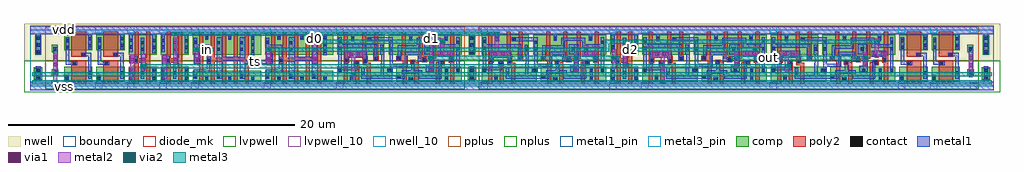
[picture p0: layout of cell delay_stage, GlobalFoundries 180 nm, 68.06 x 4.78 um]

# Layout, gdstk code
from math import pi, radians
import gdstk
lib = gdstk.Library(unit=1e-6, precision=1e-09)
def R(c, l, rs):  # rectangles x0, y0, x1, y1
    for r in rs: c.add(gdstk.rectangle(r[:2], r[2:], *l))
def A(c, l, x, y, w, h, nx, ny, dx, dy):  # array of equal rectangles
    R(c, l, [(x+i*dx, y+j*dy, x+i*dx+w, y+j*dy+h) for i in range(nx) for j in range(ny)])
boundary = (0, 0)
nwell = (21, 0)
nwell_10 = (21, 10)
comp = (22, 0)
poly2 = (30, 0)
pplus = (31, 0)
nplus = (32, 0)
contact = (33, 0)
metal1 = (34, 0)
metal1_pin = (34, 10)
via1 = (35, 0)
metal2 = (36, 0)
via2 = (38, 0)
metal3 = (42, 0)
metal3_pin = (42, 10)
diode_mk = (115, 5)
lvpwell = (204, 0)
lvpwell_10 = (204, 10)

gf180mcu_as_sc_mcu7t3v3_ = lib.new_cell('gf180mcu_as_sc_mcu7t3v3__fillcap_4')
R(gf180mcu_as_sc_mcu7t3v3_, boundary, [(0,0,2.24,3.92)])
R(gf180mcu_as_sc_mcu7t3v3_, nwell, [(-0.43,1.77,2.67,4.35)])
R(gf180mcu_as_sc_mcu7t3v3_, nwell_10, [(0.05,3.67,0.55,4.17)])
R(gf180mcu_as_sc_mcu7t3v3_, comp, [(0.14,0.34,2.1,1.34), (0.14,2.5,2.1,3.58)])
R(gf180mcu_as_sc_mcu7t3v3_, poly2, [(0.63,0.12,1.66,1.8), (0.63,2.04,1.66,3.8)])
R(gf180mcu_as_sc_mcu7t3v3_, pplus, [(-0.08,1.77,2.32,4.15), (0.4,2.27,1.89,2.34), (-0.02,2.34,2.26,3.74), (0.4,3.74,1.89,3.81)])
R(gf180mcu_as_sc_mcu7t3v3_, nplus, [(-0.08,-0.23,2.32,1.77), (-0.08,-0.23,2.32,1.77)])
R(gf180mcu_as_sc_mcu7t3v3_, contact, [(0.21,0.455,0.43,0.675), (1.81,0.815,2.03,1.035), (0.715,1.51,0.935,1.73), (1.37,2.11,1.59,2.33), (0.245,2.605,0.465,2.825), (1.81,2.72,2.03,2.94), (0.245,3.075,0.465,3.295), (1.81,3.19,2.03,3.41)])
R(gf180mcu_as_sc_mcu7t3v3_, metal1, [(0,-0.3,2.24,0.3), (0.205,0.3,0.435,0.74), (1.805,0.53,2.035,2.09), (0.65,1.44,1.04,1.5), (0.24,1.5,1.04,1.735), (0.24,1.735,0.47,3.39), (1.305,2.09,2.035,2.335), (1.805,2.565,2.035,3.62), (0,3.62,2.24,4.22)])
R(gf180mcu_as_sc_mcu7t3v3_, metal1_pin, [(0,-0.3,2.24,0.3), (0,3.62,2.24,4.22)])
R(gf180mcu_as_sc_mcu7t3v3_, lvpwell, [(-0.43,-0.43,2.67,1.77)])
R(gf180mcu_as_sc_mcu7t3v3_, lvpwell_10, [(0.05,-0.25,0.55,0.25)])
gf180mcu_as_sc_mcu7t3v3_.add(gdstk.Label('VDD', (1.12,3.92), layer=34, texttype=10))
gf180mcu_as_sc_mcu7t3v3_.add(gdstk.Label('VNW', (0.3,3.92), layer=21, texttype=10))
gf180mcu_as_sc_mcu7t3v3_.add(gdstk.Label('VPW', (0.3,0), layer=204, texttype=10))
gf180mcu_as_sc_mcu7t3v3_.add(gdstk.Label('VSS', (1.12,0), layer=34, texttype=10))

c_gf180mcu_as_sc_mcu7t3v3_ = lib.new_cell('gf180mcu_as_sc_mcu7t3v3__diode_2')
R(c_gf180mcu_as_sc_mcu7t3v3_, boundary, [(0,0,1.12,3.92)])
R(c_gf180mcu_as_sc_mcu7t3v3_, nwell, [(-0.43,1.77,1.55,4.35)])
R(c_gf180mcu_as_sc_mcu7t3v3_, nwell_10, [(0.05,3.67,0.55,4.17)])
R(c_gf180mcu_as_sc_mcu7t3v3_, comp, [(0.28,0.685,0.72,1.16), (0.3,2.36,0.725,2.9)])
R(c_gf180mcu_as_sc_mcu7t3v3_, pplus, [(-0.08,1.77,1.2,4.15), (0.14,2.2,0.885,3.06)])
R(c_gf180mcu_as_sc_mcu7t3v3_, nplus, [(-0.08,-0.23,1.2,1.77), (-0.08,-0.23,1.2,1.77)])
R(c_gf180mcu_as_sc_mcu7t3v3_, contact, [(0.405,0.87,0.625,1.09), (0.405,2.455,0.625,2.675)])
R(c_gf180mcu_as_sc_mcu7t3v3_, metal1, [(0,-0.3,1.12,0.3), (0.33,0.805,0.63,2.75), (0,3.62,1.12,4.22)])
R(c_gf180mcu_as_sc_mcu7t3v3_, metal1_pin, [(0,-0.3,1.12,0.3), (0.33,0.805,0.63,2.75), (0,3.62,1.12,4.22)])
R(c_gf180mcu_as_sc_mcu7t3v3_, diode_mk, [(0.28,0.685,0.72,1.16), (0.3,2.36,0.725,2.9)])
R(c_gf180mcu_as_sc_mcu7t3v3_, lvpwell, [(-0.43,-0.43,1.55,1.77)])
R(c_gf180mcu_as_sc_mcu7t3v3_, lvpwell_10, [(0.05,-0.25,0.55,0.25)])
c_gf180mcu_as_sc_mcu7t3v3_.add(gdstk.Label('VDD', (0.56,3.92), layer=34, texttype=10))
c_gf180mcu_as_sc_mcu7t3v3_.add(gdstk.Label('VNW', (0.3,3.92), layer=21, texttype=10))
c_gf180mcu_as_sc_mcu7t3v3_.add(gdstk.Label('VPW', (0.3,0), layer=204, texttype=10))
c_gf180mcu_as_sc_mcu7t3v3_.add(gdstk.Label('VSS', (0.56,0), layer=34, texttype=10))
c_gf180mcu_as_sc_mcu7t3v3_.add(gdstk.Label('DIODE', (0.48,1.777), layer=34, texttype=10))

c_gf180mcu_as_sc_mcu7t3v3__ = lib.new_cell('gf180mcu_as_sc_mcu7t3v3__tap_2')
R(c_gf180mcu_as_sc_mcu7t3v3__, boundary, [(0,0,1.12,3.92)])
R(c_gf180mcu_as_sc_mcu7t3v3__, nwell, [(-0.43,1.77,1.55,4.35)])
R(c_gf180mcu_as_sc_mcu7t3v3__, comp, [(0.28,0.46,0.84,1.29), (0.36,2.22,0.76,3.52)])
R(c_gf180mcu_as_sc_mcu7t3v3__, pplus, [(0.335,0.43,0.755,0.44), (0.26,0.44,0.86,1.31), (0.335,1.31,0.755,1.32)])
R(c_gf180mcu_as_sc_mcu7t3v3__, nplus, [(0.335,2.19,0.755,2.2), (0.335,2.2,0.78,3.54), (0.335,3.54,0.755,3.55)])
A(c_gf180mcu_as_sc_mcu7t3v3__, contact, 0.435, 2.29, 0.22, 0.22, 1, 3, 0, 0.47)
R(c_gf180mcu_as_sc_mcu7t3v3__, contact, [(0.435,0.53,0.655,0.75), (0.435,1,0.655,1.22)])
R(c_gf180mcu_as_sc_mcu7t3v3__, metal1, [(0,-0.3,1.12,0.3), (0.375,0.3,0.715,1.38), (0.375,2.235,0.715,3.62), (0,3.62,1.12,4.22)])
R(c_gf180mcu_as_sc_mcu7t3v3__, metal1_pin, [(0,-0.3,1.12,0.3), (0,3.62,1.12,4.22)])
R(c_gf180mcu_as_sc_mcu7t3v3__, lvpwell, [(-0.43,-0.43,1.55,1.77)])
c_gf180mcu_as_sc_mcu7t3v3__.add(gdstk.Label('VDD', (0.56,3.92), layer=34, texttype=10))
c_gf180mcu_as_sc_mcu7t3v3__.add(gdstk.Label('VSS', (0.56,0), layer=34, texttype=10))

c_gf180mcu_as_sc_mcu7t3v3___ = lib.new_cell('gf180mcu_as_sc_mcu7t3v3__inv_2')
R(c_gf180mcu_as_sc_mcu7t3v3___, boundary, [(0,0,2.24,3.92)])
R(c_gf180mcu_as_sc_mcu7t3v3___, nwell, [(-0.43,1.77,2.67,4.35)])
R(c_gf180mcu_as_sc_mcu7t3v3___, nwell_10, [(0.05,3.67,0.55,4.17)])
R(c_gf180mcu_as_sc_mcu7t3v3___, comp, [(0.14,0.34,2.1,1.34), (0.14,2.2,2.1,3.58)])
R(c_gf180mcu_as_sc_mcu7t3v3___, poly2, [(0.58,0.12,0.86,1.625), (1.38,0.12,1.66,1.625), (0.48,1.625,1.66,1.935), (0.48,1.935,0.86,1.99), (1.38,1.935,1.66,3.8), (0.58,1.99,0.86,3.8)])
R(c_gf180mcu_as_sc_mcu7t3v3___, pplus, [(-0.08,1.77,2.32,4.15), (0.35,1.97,1.89,2.04), (-0.02,2.04,2.26,3.74), (0.35,3.74,1.89,3.81)])
R(c_gf180mcu_as_sc_mcu7t3v3___, nplus, [(-0.08,-0.23,2.32,1.77), (-0.08,-0.23,2.32,1.77)])
R(c_gf180mcu_as_sc_mcu7t3v3___, contact, [(0.21,0.415,0.43,0.635), (1.81,0.445,2.03,0.665), (1.01,0.82,1.23,1.04), (0.21,0.885,0.43,1.105), (1.81,0.915,2.03,1.135), (0.55,1.695,0.77,1.915), (1.01,2.45,1.23,2.67), (1.81,2.585,2.03,2.805), (0.21,2.615,0.43,2.835), (1.01,2.92,1.23,3.14), (1.81,3.055,2.03,3.275), (0.21,3.085,0.43,3.305)])
R(c_gf180mcu_as_sc_mcu7t3v3___, metal1, [(0,-0.3,2.24,0.3), (0.205,0.3,0.435,1.235), (1.805,0.3,2.035,1.235), (1.005,0.53,1.235,1.26), (1.005,1.26,1.35,2.255), (0.205,1.59,0.775,2.125), (1.005,2.255,1.235,3.385), (1.805,2.295,2.035,3.62), (0.205,2.355,0.435,3.62), (0,3.62,2.24,4.22)])
R(c_gf180mcu_as_sc_mcu7t3v3___, metal1_pin, [(0,-0.3,2.24,0.3), (1.005,1.26,1.35,2.255), (0.205,1.59,0.775,2.125), (0,3.62,2.24,4.22)])
R(c_gf180mcu_as_sc_mcu7t3v3___, lvpwell, [(-0.43,-0.43,2.67,1.77)])
R(c_gf180mcu_as_sc_mcu7t3v3___, lvpwell_10, [(0.05,-0.25,0.55,0.25)])
c_gf180mcu_as_sc_mcu7t3v3___.add(gdstk.Label('VDD', (1.12,3.92), layer=34, texttype=10))
c_gf180mcu_as_sc_mcu7t3v3___.add(gdstk.Label('VNW', (0.3,3.92), layer=21, texttype=10))
c_gf180mcu_as_sc_mcu7t3v3___.add(gdstk.Label('VPW', (0.3,0), layer=204, texttype=10))
c_gf180mcu_as_sc_mcu7t3v3___.add(gdstk.Label('VSS', (1.12,0), layer=34, texttype=10))
c_gf180mcu_as_sc_mcu7t3v3___.add(gdstk.Label('Y', (1.177,1.757), layer=34, texttype=10))
c_gf180mcu_as_sc_mcu7t3v3___.add(gdstk.Label('A', (0.49,1.857), layer=34, texttype=10))

c_gf180mcu_as_sc_mcu7t3v3____ = lib.new_cell('gf180mcu_as_sc_mcu7t3v3__clkbuff_4')
R(c_gf180mcu_as_sc_mcu7t3v3____, boundary, [(0,0,5.04,3.92)])
R(c_gf180mcu_as_sc_mcu7t3v3____, nwell, [(-0.43,1.77,5.47,4.35)])
R(c_gf180mcu_as_sc_mcu7t3v3____, nwell_10, [(0.05,3.67,0.55,4.17)])
R(c_gf180mcu_as_sc_mcu7t3v3____, comp, [(0.14,0.34,4.9,1.06), (0.14,2.2,4.9,3.58)])
A(c_gf180mcu_as_sc_mcu7t3v3____, poly2, 2.18, 2.005, 0.28, 1.795, 3, 1, 0.8, 0)
R(c_gf180mcu_as_sc_mcu7t3v3____, poly2, [(0.58,0.12,0.86,1.57), (1.38,0.12,1.66,1.575), (2.18,0.12,2.46,1.69), (2.98,0.12,3.26,1.735), (3.78,0.12,4.06,1.735), (0.37,1.57,0.86,2.025), (1.1,1.575,1.66,1.69), (1.1,1.69,2.46,1.735), (1.1,1.735,4.06,1.97), (1.1,1.97,1.66,2.03), (2.18,1.97,4.06,2.005), (0.58,2.025,0.86,3.8), (1.38,2.03,1.66,3.8)])
R(c_gf180mcu_as_sc_mcu7t3v3____, pplus, [(-0.08,1.77,5.12,4.15), (0.35,1.97,4.29,2.04), (-0.02,2.04,5.06,3.74), (0.35,3.74,4.29,3.81)])
R(c_gf180mcu_as_sc_mcu7t3v3____, nplus, [(-0.08,-0.23,5.12,1.77), (-0.08,-0.23,5.12,1.77)])
A(c_gf180mcu_as_sc_mcu7t3v3____, contact, 1.01, 0.41, 0.22, 0.22, 3, 1, 1.6, 0)
A(c_gf180mcu_as_sc_mcu7t3v3____, contact, 0.21, 0.59, 0.22, 0.22, 3, 1, 1.6, 0)
A(c_gf180mcu_as_sc_mcu7t3v3____, contact, 4.21, 2.31, 0.22, 0.22, 1, 3, 0, 0.47)
R(c_gf180mcu_as_sc_mcu7t3v3____, contact, [(0.45,1.685,0.67,1.905), (1.17,1.7,1.39,1.92), (1.81,2.455,2.03,2.675), (3.41,2.455,3.63,2.675), (1.81,2.925,2.03,3.145), (3.41,2.925,3.63,3.145), (0.21,2.96,0.43,3.18), (1.01,3.29,1.23,3.51), (2.61,3.29,2.83,3.51)])
R(c_gf180mcu_as_sc_mcu7t3v3____, metal1, [(0,-0.3,5.04,0.3), (1.005,0.3,1.235,0.69), (2.605,0.3,2.835,0.69), (4.205,0.3,4.435,0.73), (0.205,0.53,0.435,0.945), (1.805,0.53,2.2,1.755), (3.405,0.53,3.8,1.755), (0.205,0.945,1.33,1.175), (1.1,1.175,1.33,1.575), (0.205,1.57,0.675,2.285), (1.1,1.575,1.395,2.03), (1.805,1.755,3.8,2.04), (1.1,2.03,1.33,2.665), (1.805,2.04,2.2,3.39), (3.405,2.04,3.8,3.39), (4.205,2.14,4.435,3.62), (0.205,2.665,1.33,2.895), (0.205,2.895,0.435,3.38), (1.005,3.23,1.235,3.62), (2.605,3.23,2.835,3.62), (0,3.62,5.04,4.22)])
R(c_gf180mcu_as_sc_mcu7t3v3____, metal1_pin, [(0,-0.3,5.04,0.3), (1.805,0.53,2.2,3.39), (3.405,0.53,3.8,3.39), (0.205,1.57,0.675,2.285), (0,3.62,5.04,4.22)])
R(c_gf180mcu_as_sc_mcu7t3v3____, lvpwell, [(-0.43,-0.43,5.47,1.77)])
R(c_gf180mcu_as_sc_mcu7t3v3____, lvpwell_10, [(0.05,-0.25,0.55,0.25)])
c_gf180mcu_as_sc_mcu7t3v3____.add(gdstk.Label('VDD', (2.52,3.92), layer=34, texttype=10))
c_gf180mcu_as_sc_mcu7t3v3____.add(gdstk.Label('VNW', (0.3,3.92), layer=21, texttype=10))
c_gf180mcu_as_sc_mcu7t3v3____.add(gdstk.Label('VPW', (0.3,0), layer=204, texttype=10))
c_gf180mcu_as_sc_mcu7t3v3____.add(gdstk.Label('VSS', (2.52,0), layer=34, texttype=10))
c_gf180mcu_as_sc_mcu7t3v3____.add(gdstk.Label('A', (0.44,1.927), layer=34, texttype=10))
c_gf180mcu_as_sc_mcu7t3v3____.add(gdstk.Label('Y', (2.002,1.96), layer=34, texttype=10))
c_gf180mcu_as_sc_mcu7t3v3____.add(gdstk.Label('Y', (3.602,1.96), layer=34, texttype=10))

c_gf180mcu_as_sc_mcu7t3v3_____ = lib.new_cell('gf180mcu_as_sc_mcu7t3v3__invz_2')
R(c_gf180mcu_as_sc_mcu7t3v3_____, boundary, [(0,0,8.96,3.92)])
R(c_gf180mcu_as_sc_mcu7t3v3_____, nwell, [(-0.43,1.77,9.39,4.35)])
R(c_gf180mcu_as_sc_mcu7t3v3_____, nwell_10, [(0.05,3.67,0.55,4.17)])
R(c_gf180mcu_as_sc_mcu7t3v3_____, comp, [(0.14,0.34,3.98,1.34), (4.26,0.34,8.82,1.34), (0.14,2.2,3.42,3.58), (3.725,2.2,8.82,3.58)])
R(c_gf180mcu_as_sc_mcu7t3v3_____, poly2, [(0.58,0.12,0.86,1.62), (1.38,0.12,1.66,1.45), (2.18,0.12,2.46,1.44), (4.7,0.12,4.98,1.74), (5.52,0.12,5.8,1.495), (7.02,0.12,7.3,1.47), (8.02,0.12,8.3,1.64), (1.9,1.44,2.46,1.62), (1.28,1.45,1.66,1.655), (7.02,1.47,7.645,1.675), (5.22,1.495,5.8,1.675), (0.58,1.62,0.965,1.98), (1.9,1.62,2.26,1.92), (7.895,1.64,8.3,2), (6.04,1.65,6.405,1.92), (1.28,1.655,1.64,1.81), (5.22,1.675,5.585,1.855), (7.28,1.675,7.645,1.83), (2.67,1.74,3.03,2.1), (4.24,1.74,4.98,2.1), (1.86,1.92,2.26,2.1), (5.82,1.92,7.05,2.1), (0.58,1.98,0.86,3.8), (8.02,2,8.3,3.8), (1.86,2.1,2.14,3.8), (2.7,2.1,2.98,3.8), (4.62,2.1,4.9,3.8), (5.82,2.1,6.1,3.8), (6.77,2.1,7.05,3.8)])
R(c_gf180mcu_as_sc_mcu7t3v3_____, pplus, [(-0.08,1.77,9.04,4.15), (0.35,1.97,1.09,2.04), (1.63,1.97,3.21,2.04), (4.39,1.97,5.13,2.04), (5.59,1.97,7.28,2.04), (7.79,1.97,8.53,2.04), (-0.02,2.04,8.98,3.74), (0.35,3.74,1.09,3.81), (1.63,3.74,3.21,3.81), (4.39,3.74,5.13,3.81), (5.59,3.74,7.28,3.81), (7.79,3.74,8.53,3.81)])
R(c_gf180mcu_as_sc_mcu7t3v3_____, nplus, [(-0.08,-0.23,9.04,1.77), (-0.08,-0.23,9.04,1.77)])
R(c_gf180mcu_as_sc_mcu7t3v3_____, contact, [(5.15,0.41,5.37,0.63), (1.01,0.47,1.23,0.69), (7.65,0.485,7.87,0.705), (4.33,0.535,4.55,0.755), (1.81,0.795,2.03,1.015), (7.65,0.955,7.87,1.175), (3.69,1,3.91,1.22), (6.5,1,6.72,1.22), (0.21,1.005,0.43,1.225), (8.45,1.005,8.67,1.225), (1.35,1.52,1.57,1.74), (7.35,1.54,7.57,1.76), (5.29,1.565,5.51,1.785), (1.97,1.66,2.19,1.88), (0.675,1.69,0.895,1.91), (7.965,1.71,8.185,1.93), (6.11,1.72,6.33,1.94), (2.74,1.81,2.96,2.03), (4.31,1.81,4.53,2.03), (3.13,2.475,3.35,2.695), (3.795,2.475,4.015,2.695), (6.39,2.475,6.61,2.695), (8.45,2.49,8.67,2.71), (0.21,2.54,0.43,2.76), (3.795,2.945,4.015,3.165), (8.45,2.96,8.67,3.18), (0.21,3.01,0.43,3.23), (2.29,3.15,2.51,3.37), (1.11,3.205,1.33,3.425), (5.15,3.22,5.37,3.44), (7.6,3.22,7.82,3.44)])
R(c_gf180mcu_as_sc_mcu7t3v3_____, metal1, [(0,-0.3,8.96,0.3), (1.005,0.3,1.235,0.75), (5.09,0.3,5.43,0.635), (7.645,0.3,7.875,1.25), (1.805,0.53,4.855,0.76), (5.83,0.53,7.415,0.76), (1.805,0.76,2.035,1.29), (3.155,0.76,3.385,1.36), (4.615,0.76,4.855,0.865), (5.83,0.76,6.06,0.865), (7.185,0.76,7.415,1.48), (4.615,0.865,6.06,1.105), (0.205,0.945,0.435,1.1), (8.445,0.945,8.675,2.685), (3.62,0.99,4.02,1.235), (6.305,0.99,6.905,1.43), (0.205,1.1,1.575,1.335), (5.285,1.105,5.515,1.845), (3.79,1.235,4.02,1.335), (0.205,1.335,0.435,2.685), (1.29,1.335,1.575,1.515), (3.79,1.335,5.055,1.565), (3.155,1.36,3.425,1.59), (6.565,1.43,6.905,2.23), (7.185,1.48,7.575,1.82), (1.29,1.515,1.63,1.745), (3.79,1.565,4.02,3.145), (4.825,1.565,5.055,2.15), (0.67,1.57,0.9,1.975), (3.195,1.59,3.425,2.265), (1.965,1.6,2.195,1.975), (7.96,1.65,8.19,2.05), (6.105,1.66,6.335,1.71), (5.745,1.71,6.335,2), (2.65,1.75,2.965,2.09), (4.25,1.805,4.59,2.035), (0.67,1.975,2.195,2.45), (5.745,2,5.975,2.15), (4.36,2.035,4.59,2.61), (7.135,2.05,8.19,2.45), (2.65,2.09,2.88,2.685), (4.825,2.15,5.975,2.38), (6.205,2.23,6.905,2.91), (3.125,2.265,3.425,2.51), (3.125,2.51,3.355,2.9), (4.36,2.61,5.915,2.84), (0.205,2.685,2.88,2.915), (7.135,2.685,8.675,2.915), (5.685,2.84,5.915,3.15), (0.205,2.915,0.435,3.39), (7.135,2.915,7.365,3.15), (8.445,2.915,8.675,3.39), (1.105,3.145,1.335,3.62), (2.23,3.145,4.02,3.39), (5.685,3.15,7.365,3.38), (5.145,3.16,5.375,3.62), (7.595,3.16,7.825,3.62), (0,3.62,8.96,4.22)])
R(c_gf180mcu_as_sc_mcu7t3v3_____, metal1_pin, [(0,-0.3,8.96,0.3), (6.565,0.99,6.905,2.91), (0.67,1.975,2.195,2.45), (7.135,2.05,8.19,2.45), (0,3.62,8.96,4.22)])
R(c_gf180mcu_as_sc_mcu7t3v3_____, lvpwell, [(-0.43,-0.43,9.39,1.77)])
R(c_gf180mcu_as_sc_mcu7t3v3_____, lvpwell_10, [(0.05,-0.25,0.55,0.25)])
c_gf180mcu_as_sc_mcu7t3v3_____.add(gdstk.Label('VDD', (4.48,3.92), layer=34, texttype=10))
c_gf180mcu_as_sc_mcu7t3v3_____.add(gdstk.Label('VNW', (0.3,3.92), layer=21, texttype=10))
c_gf180mcu_as_sc_mcu7t3v3_____.add(gdstk.Label('VPW', (0.3,0), layer=204, texttype=10))
c_gf180mcu_as_sc_mcu7t3v3_____.add(gdstk.Label('VSS', (4.48,0), layer=34, texttype=10))
c_gf180mcu_as_sc_mcu7t3v3_____.add(gdstk.Label('EN', (1.432,2.212), layer=34, texttype=10))
c_gf180mcu_as_sc_mcu7t3v3_____.add(gdstk.Label('A', (7.662,2.25), layer=34, texttype=10))
c_gf180mcu_as_sc_mcu7t3v3_____.add(gdstk.Label('Y', (6.735,1.95), layer=34, texttype=10))

delay_stage = lib.new_cell('delay_stage')
R(delay_stage, nwell, [(2.3,1.72,3.61,4.3)])
R(delay_stage, pplus, [(-0.39,2.22,-0.06,2.29), (53.74,2.22,54.12,2.29), (-4.66,2.29,-4.54,3.01), (58.22,2.29,58.435,3.01)])
R(delay_stage, metal1, [(-5.64,-0.35,-3.025,0.25), (21.09,1,21.35,1.845), (31.175,1,31.435,1.845), (58.705,1.25,58.97,2.08), (-5.13,1.305,-4.87,2.15), (34.605,1.31,34.87,2.14), (42.365,1.345,42.63,2.175), (51.325,1.395,51.59,2.225), (8.195,1.52,9.755,1.555), (0.23,1.54,0.51,2.075), (1,1.54,1.28,2.075), (2.47,1.54,2.75,2.075), (3.24,1.54,3.52,2.075), (8.195,1.555,9.995,1.805), (33.83,1.565,34.095,2.055), (4.71,1.57,4.99,2.105), (12.96,1.57,13.24,2.105), (9.715,1.805,9.995,2.09), (45.66,2.015,46.645,2.275), (15.395,2.03,16.38,2.29), (36.7,2.035,37.685,2.295), (25.44,2.045,26.425,2.305), (51.955,2.065,52.92,2.325), (31.785,2.07,32.76,2.33), (42.985,2.075,43.955,2.335), (21.69,2.08,22.675,2.34), (-5.64,3.57,-3.025,4.17)])
R(delay_stage, metal1_pin, [(-5.64,-0.35,-3.025,0.25), (-5.64,3.57,-3.025,4.17)])
R(delay_stage, via1, [(21.09,1.03,21.35,1.29), (31.175,1.03,31.435,1.29), (58.705,1.275,58.965,1.535), (-5.13,1.335,-4.87,1.595), (34.605,1.335,34.865,1.595), (42.365,1.37,42.625,1.63), (51.325,1.42,51.585,1.68), (21.09,1.55,21.35,1.81), (31.175,1.55,31.435,1.81), (0.24,1.675,0.5,1.935), (1.01,1.675,1.27,1.935), (2.48,1.675,2.74,1.935), (3.25,1.675,3.51,1.935), (33.83,1.68,34.09,1.94), (9.725,1.69,9.985,1.95), (4.72,1.705,4.98,1.965), (12.97,1.705,13.23,1.965), (58.705,1.795,58.965,2.055), (-5.13,1.855,-4.87,2.115), (34.605,1.855,34.865,2.115), (42.365,1.89,42.625,2.15), (51.325,1.94,51.585,2.2), (45.76,2.015,46.02,2.275), (46.28,2.015,46.54,2.275), (15.495,2.03,15.755,2.29), (16.015,2.03,16.275,2.29), (36.8,2.035,37.06,2.295), (37.32,2.035,37.58,2.295), (25.54,2.045,25.8,2.305), (26.06,2.045,26.32,2.305), (52.045,2.065,52.305,2.325), (52.565,2.065,52.825,2.325), (31.88,2.07,32.14,2.33), (32.4,2.07,32.66,2.33), (43.08,2.075,43.34,2.335), (43.6,2.075,43.86,2.335), (21.795,2.08,22.055,2.34), (22.315,2.08,22.575,2.34)])
R(delay_stage, metal2, [(-5.245,0.09,-4.765,0.37), (0.165,0.09,0.57,0.37), (37.155,0.09,37.55,0.37), (-5.145,0.37,-4.855,2.225), (0.23,0.37,0.51,1.475), (37.215,0.37,37.495,2.025), (2.47,0.425,2.75,1.475), (15.645,0.425,15.925,2.01), (58.69,0.585,58.985,2.175), (45.875,0.915,46.155,2.005), (31.16,0.935,31.445,2.105), (21.08,0.94,21.36,3.425), (1,0.995,1.28,1.475), (33.82,1.165,34.105,2.535), (34.595,1.25,34.88,2.785), (42.35,1.285,42.645,2.255), (51.31,1.33,51.605,2.31), (9.7,1.4,10.01,2.675), (0.22,1.475,0.52,2.125), (0.99,1.475,1.29,2.125), (2.46,1.475,2.76,2.14), (3.23,1.475,3.53,2.125), (4.7,1.505,5,2.155), (12.95,1.505,13.25,2.155), (52.125,1.92,52.405,2.055), (43.62,2.005,43.9,2.06), (45.595,2.005,46.705,2.29), (15.335,2.01,16.445,2.31), (36.625,2.025,37.76,2.31), (25.375,2.03,26.515,2.32), (31.725,2.055,32.82,2.345), (51.895,2.055,52.98,2.34), (21.64,2.06,22.735,2.36), (42.925,2.06,44.03,2.35), (0.23,2.125,0.51,2.17), (1,2.125,1.28,2.18), (3.24,2.125,3.52,3.45), (4.71,2.155,4.99,2.67), (12.96,2.155,13.24,3.43), (42.355,2.255,42.635,2.285), (45.875,2.29,46.155,2.33), (15.645,2.31,15.925,2.39), (37.215,2.31,37.495,2.38), (25.625,2.32,25.905,3.45), (52.125,2.34,52.405,3.24), (31.855,2.345,32.14,2.8), (43.62,2.35,43.9,2.68), (21.845,2.36,22.125,3.24), (3.16,3.45,3.61,3.73), (25.55,3.45,25.995,3.73)])
R(delay_stage, via2, [(-5.13,0.1,-4.87,0.36), (0.24,0.1,0.5,0.36), (37.225,0.1,37.485,0.36), (2.48,0.66,2.74,0.92), (15.655,0.66,15.915,0.92), (58.705,0.66,58.965,0.92), (1.01,1.22,1.27,1.48), (45.885,1.22,46.145,1.48), (21.09,1.78,21.35,2.04), (31.17,1.78,31.43,2.04), (33.83,1.78,34.09,2.04), (42.365,1.78,42.625,2.04), (51.325,1.78,51.585,2.04), (4.72,2.34,4.98,2.6), (9.725,2.34,9.985,2.6), (31.865,2.34,32.125,2.6), (34.605,2.34,34.865,2.6), (43.63,2.34,43.89,2.6), (12.97,2.9,13.23,3.16), (21.855,2.9,22.115,3.16), (52.135,2.9,52.395,3.16), (3.25,3.46,3.51,3.72), (25.635,3.46,25.895,3.72)])
R(delay_stage, metal3, [(-6.63,0.09,60.295,0.37), (-6.63,0.65,60.295,0.93), (0.905,1.21,46.29,1.49), (21,1.77,34.33,2.05), (42.205,1.77,51.67,2.05), (4.61,2.33,6.035,2.61), (9.64,2.33,33.635,2.61), (34.475,2.33,44.165,2.61), (33.355,2.61,33.635,2.89), (12.84,2.89,22.185,3.17), (33.355,2.89,52.49,3.17), (3.115,3.45,25.995,3.73)])
R(delay_stage, metal3_pin, [(-6.63,0.09,-6.355,0.37), (-6.63,0.65,-6.355,0.93), (44.595,1.77,44.885,2.05), (5.45,2.33,5.725,2.61)])
R(delay_stage, lvpwell, [(2.3,1.3,3.61,1.72)])
delay_stage.add(gdstk.Reference(gf180mcu_as_sc_mcu7t3v3_, (-2.28,-0.05)))
delay_stage.add(gdstk.Reference(gf180mcu_as_sc_mcu7t3v3_, (-4.52,-0.05)))
delay_stage.add(gdstk.Reference(c_gf180mcu_as_sc_mcu7t3v3_, (-4.52,-0.05), rotation=pi, x_reflection=True))
delay_stage.add(gdstk.Reference(c_gf180mcu_as_sc_mcu7t3v3__, (-5.64,-0.05), rotation=pi, x_reflection=True))
delay_stage.add(gdstk.Reference(c_gf180mcu_as_sc_mcu7t3v3___, (-0.04,-0.05)))
delay_stage.add(gdstk.Reference(c_gf180mcu_as_sc_mcu7t3v3___, (2.2,-0.05)))
delay_stage.add(gdstk.Reference(c_gf180mcu_as_sc_mcu7t3v3____, (4.44,-0.05)))
delay_stage.add(gdstk.Reference(c_gf180mcu_as_sc_mcu7t3v3____, (9.48,-0.05)))
delay_stage.add(gdstk.Reference(c_gf180mcu_as_sc_mcu7t3v3_____, (14.52,-0.05)))
delay_stage.add(gdstk.Reference(c_gf180mcu_as_sc_mcu7t3v3_____, (24.6,-0.05)))
delay_stage.add(gdstk.Reference(c_gf180mcu_as_sc_mcu7t3v3__, (23.48,-0.05)))
delay_stage.add(gdstk.Reference(c_gf180mcu_as_sc_mcu7t3v3_____, (35.8,-0.05)))
delay_stage.add(gdstk.Reference(c_gf180mcu_as_sc_mcu7t3v3___, (33.56,-0.05)))
delay_stage.add(gdstk.Reference(c_gf180mcu_as_sc_mcu7t3v3_____, (44.76,-0.05)))
delay_stage.add(gdstk.Reference(gf180mcu_as_sc_mcu7t3v3_, (53.72,-0.05)))
delay_stage.add(gdstk.Reference(gf180mcu_as_sc_mcu7t3v3_, (55.96,-0.05)))
delay_stage.add(gdstk.Reference(c_gf180mcu_as_sc_mcu7t3v3_, (59.32,-0.05), rotation=pi, x_reflection=True))
delay_stage.add(gdstk.Reference(c_gf180mcu_as_sc_mcu7t3v3__, (60.44,-0.05), rotation=pi, x_reflection=True))
delay_stage.add(gdstk.Label('ts', (8.937,1.662), layer=34, texttype=0))
delay_stage.add(gdstk.Label('d2', (35.09,2.47), layer=42, texttype=0))
delay_stage.add(gdstk.Label('d1', (21.22,3.292), layer=36, texttype=0))
delay_stage.add(gdstk.Label('d0', (13.1,3.297), layer=36, texttype=0))
delay_stage.add(gdstk.Label('vdd', (-4.332,3.87), layer=34, texttype=10))
delay_stage.add(gdstk.Label('vss', (-4.332,-0.05), layer=34, texttype=10))
delay_stage.add(gdstk.Label('in', (5.587,2.47), layer=42, texttype=10))
delay_stage.add(gdstk.Label('trim[0]', (-6.492,0.23), layer=42, texttype=10))
delay_stage.add(gdstk.Label('trim[1]', (-6.492,0.79), layer=42, texttype=10))
delay_stage.add(gdstk.Label('out', (44.74,1.91), layer=42, texttype=10))

lib.write_gds('delay_stage.gds')
